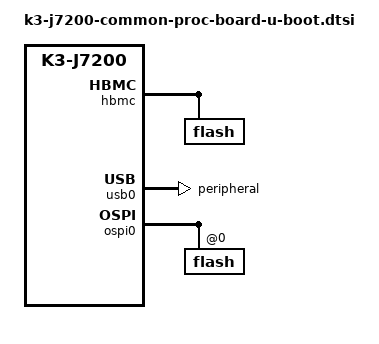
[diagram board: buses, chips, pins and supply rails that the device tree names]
// SPDX-License-Identifier: GPL-2.0
/*
 * Copyright (C) 2020-2023 Texas Instruments Incorporated - https://www.ti.com/
 */

#include "k3-j7200-binman.dtsi"

/ {
	chosen {
		tick-timer = &mcu_timer0;
	};
};

&cbass_main {
    
};

&main_navss {
    bootph-all;
};

&main_esm {
    bootph-all;
};

&cbass_mcu_wakeup {
	bootph-all;

	wkup_conf: bus@43000000 {
		bootph-all;

		chipid: chipid@14 {

		};
	};
};

&mcu_navss {
    
};

&mcu_ringacc {
    
};

&mcu_udmap {
    
};

&secure_proxy_main {
    
};

&dmsc {
    
};

&k3_pds {
    
};

&k3_clks {
    
};

&k3_reset {
    
};

&wkup_pmx0 {
    
};

&wkup_pmx2 {
	bootph-all;
};

&main_pmx0 {
	bootph-all;
};

&main_uart0 {
    
};

&main_uart2 {
	bootph-all;
};

&mcu_uart0 {
    
};

&main_sdhci0 {
    
};

&main_sdhci1 {
    
};

&wkup_i2c0 {
    
};

&main_i2c0 {
	bootph-all;
};

&exp1 {
	bootph-all;
};

&exp2 {
	bootph-all;
};

&mcu_cpsw {
	bootph-all;
};

&mcu_uart0 {
    
};

&wkup_i2c0 {
    
};

&wkup_uart0 {
    
};

&fss {
	bootph-all;
};

&main_uart0_pins_default {
    
};

&main_mmc1_pins_default {
    
};

&main_i2c0_pins_default {
    
};

&wkup_i2c0_pins_default {
	bootph-all;
};

&wkup_uart0_pins_default {
    
};

&wkup_gpio_pins_default {
    
};

&wkup_gpio0 {
	bootph-all;
};

&hbmc {
	bootph-all;

	flash@0,0 {

	};
};

&hbmc_mux {
    
};

&usbss0 {
    
    ti,usb2-only;
};

&usb0 {
	dr_mode = "peripheral";
};

&ospi0 {
	bootph-all;

	flash@0 {
		bootph-all;
	};
};

&serdes_ln_ctrl {
	bootph-all;
};

&usb_serdes_mux {
    
};

&serdes0 {
	bootph-all;
};
